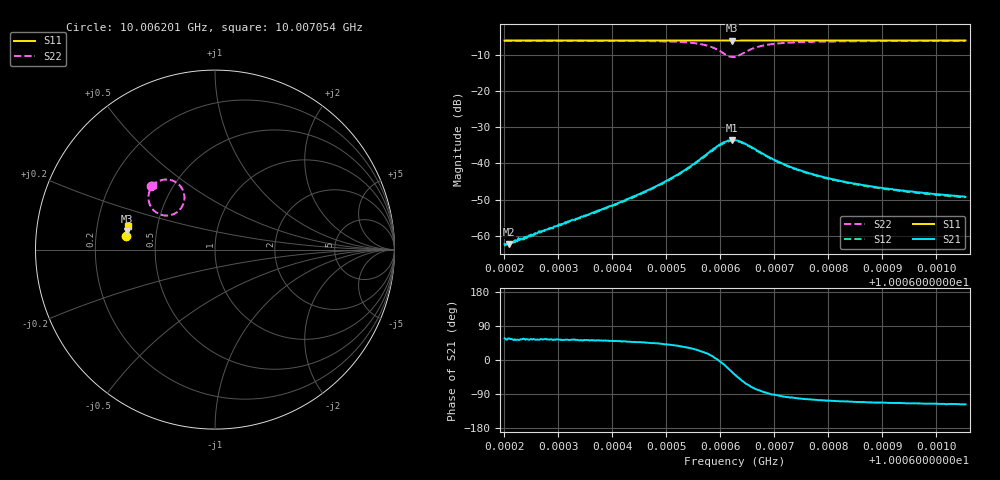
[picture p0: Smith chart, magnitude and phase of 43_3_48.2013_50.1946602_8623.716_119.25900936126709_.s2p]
#  HZ  S  RI  R  50.00
! Rohde & Schwarz Vector Network Analyzer
! Rohde-Schwarz,ZNB20-2Port,1311601062101988,3.16
! Created: UTC 3/20/2024, 11:37:57 AM
! freq[Hz]  re:S11  im:S11  re:S21  im:S21  re:S12  im:S12  re:S22  im:S22
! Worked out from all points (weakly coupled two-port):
!   401 points, 10.006201 GHz to 10.007054 GHz, reference 50 ohm
!   highest |S21| = -33.51 dB at 10.006621 GHz (marker M1); lowest = -62.4 dB at 10.006209 GHz (marker M2)
!   lowest |S11| = -6.0 dB at 10.006621 GHz (marker M3), VSWR 3.00, Z = 16.8 + j4.56 ohm
!   |S11| at or under -10 dB: nowhere
!   |S22| runs from -10.6 to -6.0 dB; largest |S21 - S12| = 0.0015
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1.00062009e10  -0.4962 0.0753  0.000412 0.000641  0.000349 0.000624  -0.3546 0.3519
1.00062094e10  -0.4962 0.0758  0.000416 0.000633  0.000409 0.000639  -0.3539 0.3524
1.00063437e10  -0.4949 0.0846  0.00113 0.00146  0.00103 0.00148  -0.34 0.3651
1.00064269e10  -0.4941 0.09  0.00213 0.00239  0.00194 0.00244  -0.325 0.3756
1.00064866e10  -0.4934 0.0942  0.00367 0.00347  0.00345 0.00355  -0.3046 0.385
1.00065335e10  -0.4927 0.0973  0.00661 0.00452  0.00622 0.00472  -0.2723 0.3905
1.0006574e10  -0.4916 0.1  0.0126 0.00415  0.0121 0.00435  -0.2156 0.374
1.0006589e10  -0.491 0.1009  0.0161 0.0018  0.0154 0.00265  -0.1878 0.3468
1.00066039e10  -0.4906 0.1015  0.019 -0.00279  0.0185 -0.00172  -0.1703 0.2969
1.00066146e10  -0.4901 0.1015  0.0192 -0.00775  0.019 -0.00636  -0.1779 0.2512
1.0006621e10  -0.4901 0.1016  0.0182 -0.0107  0.0183 -0.00924  -0.1933 0.2256
1.00066274e10  -0.4902 0.1017  0.0164 -0.0132  0.0167 -0.0119  -0.2156 0.2057
1.00066444e10  -0.4906 0.1023  0.00985 -0.0162  0.0104 -0.0155  -0.2837 0.1903
1.00066593e10  -0.4908 0.1032  0.00503 -0.0157  0.00584 -0.0152  -0.3271 0.2069
1.00066764e10  -0.4912 0.1045  0.00191 -0.0138  0.00258 -0.0134  -0.3534 0.2334
1.00066977e10  -0.4911 0.106  -0.000219 -0.0113  0.000365 -0.0113  -0.3669 0.2615
1.00067212e10  -0.4911 0.1077  -0.00128 -0.00939  -0.000801 -0.00941  -0.3705 0.2838
1.0006734e10  -0.491 0.1085  -0.00141 -0.00851  -0.000984 -0.00854  -0.3708 0.293
1.00067702e10  -0.4905 0.1109  -0.00176 -0.00692  -0.00143 -0.00686  -0.3684 0.3119
1.00068321e10  -0.4897 0.1151  -0.00184 -0.00519  -0.00159 -0.00519  -0.3622 0.3308
1.00069131e10  -0.4886 0.1203  -0.00173 -0.00406  -0.00148 -0.00408  -0.3547 0.3452
1.00070538e10  -0.4868 0.1292  -0.00157 -0.00306  -0.00139 -0.00309  -0.3442 0.3604
